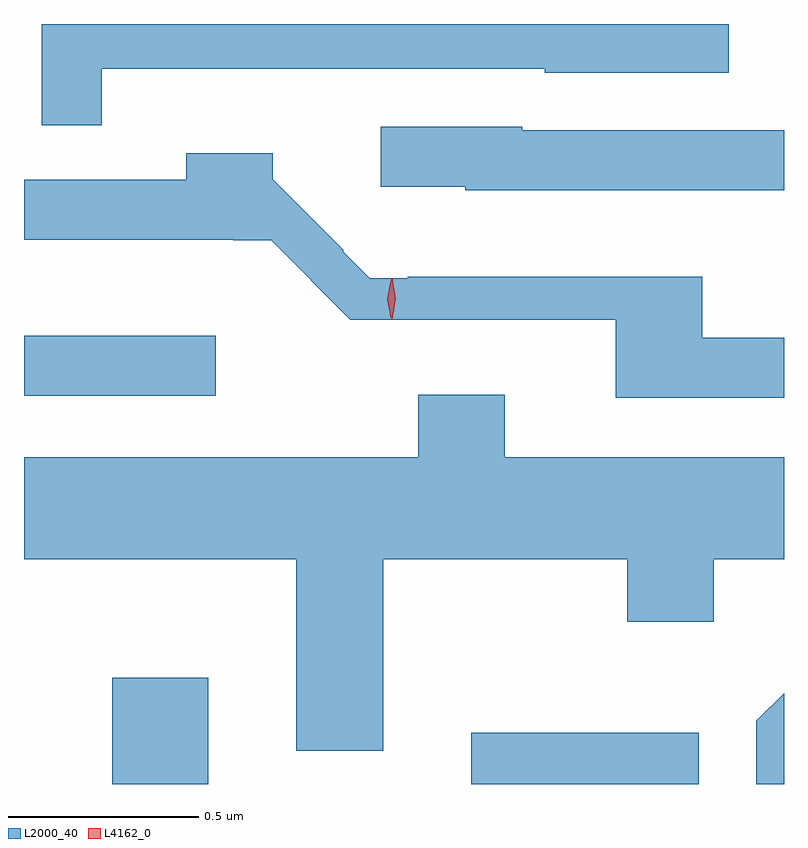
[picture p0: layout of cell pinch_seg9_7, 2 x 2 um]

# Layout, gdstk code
import gdstk
lib = gdstk.Library(unit=1e-6, precision=1e-09)
def R(c, l, rs):  # rectangles x0, y0, x1, y1
    for r in rs: c.add(gdstk.rectangle(r[:2], r[2:], *l))
def P(c, l, *ps):  # polygons
    for p in ps: c.add(gdstk.Polygon(p, *l))
L2000_40 = (2000, 40)
L4162_0 = (4162, 0)

pinch_seg9_7 = lib.new_cell('pinch_seg9_7')
R(pinch_seg9_7, L2000_40, [(1905.826,2004.544,1906.079,2004.824), (1906.771,2004.544,1907.369,2004.679), (1905.594,2005.566,1906.098,2005.724)])
P(pinch_seg9_7, L2000_40, [(1905.799,2006.426),(1906.965,2006.426),(1906.965,2006.416),(1907.449,2006.416),(1907.449,2006.544),(1905.641,2006.544),(1905.641,2006.278),(1905.799,2006.278)],
  [(1907.594,2006.264),(1906.905,2006.264),(1906.905,2006.274),(1906.533,2006.274),(1906.533,2006.116),(1906.755,2006.116),(1906.755,2006.106),(1907.594,2006.106)],
  [(1907.594,2005.719),(1907.379,2005.719),(1907.379,2005.879),(1906.604,2005.879),(1906.604,2005.875),(1906.504,2005.875),(1906.433,2005.946),(1906.436,2005.949),(1906.249,2006.136),(1906.249,2006.204),(1906.021,2006.204),(1906.021,2006.134),(1905.594,2006.134),(1905.594,2005.976),(1906.144,2005.976),(1906.144,2005.975),(1906.244,2005.975),(1906.453,2005.766),(1907.151,2005.766),(1907.151,2005.561),(1907.594,2005.561)],
  [(1906.539,2005.136),(1907.181,2005.136),(1907.181,2004.971),(1907.409,2004.971),(1907.409,2005.136),(1907.594,2005.136),(1907.594,2005.404),(1906.859,2005.404),(1906.859,2005.569),(1906.631,2005.569),(1906.631,2005.404),(1905.594,2005.404),(1905.594,2005.136),(1906.311,2005.136),(1906.311,2004.631),(1906.539,2004.631)],
  [(1907.594,2004.783),(1907.521,2004.71),(1907.521,2004.544),(1907.594,2004.544)])
P(pinch_seg9_7, L4162_0, [(1906.562,2005.766),(1906.562,2005.767),(1906.552,2005.821),(1906.562,2005.875),(1906.562,2005.875),(1906.563,2005.875),(1906.572,2005.821),(1906.563,2005.767)],
  [(1906.559,2005.771),(1906.55,2005.82),(1906.559,2005.869),(1906.56,2005.869),(1906.56,2005.869),(1906.57,2005.82),(1906.56,2005.771),(1906.56,2005.771)])

lib.write_gds('pinch_seg9_7.gds')
